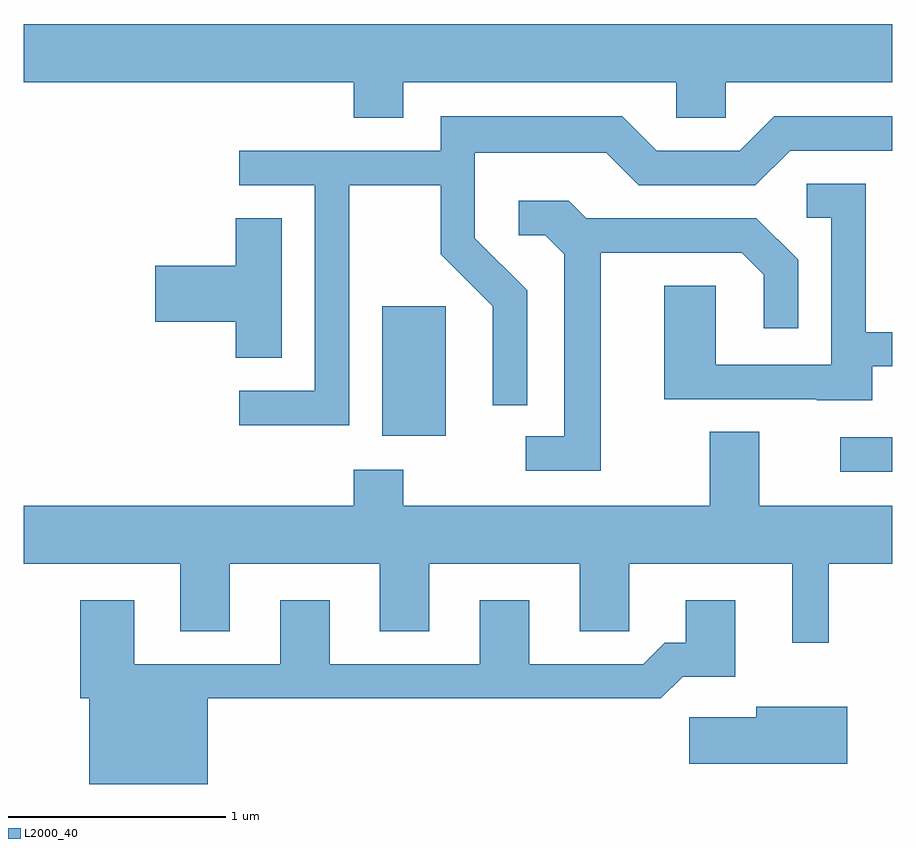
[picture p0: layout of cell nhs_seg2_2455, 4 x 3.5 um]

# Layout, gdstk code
import gdstk
lib = gdstk.Library(unit=1e-6, precision=1e-09)
def R(c, l, rs):  # rectangles x0, y0, x1, y1
    for r in rs: c.add(gdstk.rectangle(r[:2], r[2:], *l))
def P(c, l, *ps):  # polygons
    for p in ps: c.add(gdstk.Polygon(p, *l))
L2000_40 = (2000, 40)

nhs_seg2_2455 = lib.new_cell('nhs_seg2_2455')
R(nhs_seg2_2455, L2000_40, [(261.373,993.241,261.611,993.399), (259.261,993.406,259.554,994.004)])
P(nhs_seg2_2455, L2000_40, [(259.359,995.036),(260.616,995.036),(260.616,994.871),(260.844,994.871),(260.844,995.036),(261.611,995.036),(261.611,995.304),(257.611,995.304),(257.611,995.036),(259.131,995.036),(259.131,994.871),(259.359,994.871)],
  [(259.109,994.561),(259.531,994.561),(259.531,994.244),(259.771,994.004),(259.771,993.548),(259.929,993.548),(259.929,994.077),(259.689,994.317),(259.689,994.711),(260.294,994.711),(260.444,994.561),(260.981,994.561),(261.142,994.721),(261.611,994.721),(261.611,994.879),(261.069,994.879),(260.909,994.719),(260.527,994.719),(260.367,994.879),(259.531,994.879),(259.531,994.719),(258.603,994.719),(258.603,994.561),(258.951,994.561),(258.951,993.614),(258.603,993.614),(258.603,993.456),(259.109,993.456)],
  [(261.519,993.726),(261.611,993.726),(261.611,993.884),(261.489,993.884),(261.489,994.569),(261.218,994.569),(261.218,994.411),(261.331,994.411),(261.331,993.734),(260.799,993.734),(260.799,994.099),(260.561,994.099),(260.561,993.576),(261.265,993.576),(261.265,993.571),(261.519,993.571)],
  [(260.269,994.251),(260.919,994.251),(261.021,994.149),(261.021,993.903),(261.179,993.903),(261.179,994.217),(260.986,994.409),(260.202,994.409),(260.122,994.489),(259.892,994.489),(259.892,994.331),(260.014,994.331),(260.101,994.244),(260.101,993.404),(259.923,993.404),(259.923,993.246),(260.269,993.246)],
  [(258.799,994.409),(258.586,994.409),(258.586,994.189),(258.216,994.189),(258.216,993.931),(258.586,993.931),(258.586,993.766),(258.799,993.766)],
  [(261.319,992.816),(261.611,992.816),(261.611,993.084),(260.999,993.084),(260.999,993.424),(260.771,993.424),(260.771,993.084),(259.359,993.084),(259.359,993.249),(259.131,993.249),(259.131,993.084),(257.611,993.084),(257.611,992.816),(258.331,992.816),(258.331,992.506),(258.559,992.506),(258.559,992.816),(259.251,992.816),(259.251,992.506),(259.479,992.506),(259.479,992.816),(260.171,992.816),(260.171,992.506),(260.399,992.506),(260.399,992.816),(261.151,992.816),(261.151,992.453),(261.319,992.453)],
  [(258.459,992.196),(260.546,992.196),(260.647,992.296),(260.889,992.296),(260.889,992.649),(260.661,992.649),(260.661,992.454),(260.564,992.454),(260.464,992.354),(259.939,992.354),(259.939,992.649),(259.711,992.649),(259.711,992.354),(259.019,992.354),(259.019,992.649),(258.791,992.649),(258.791,992.354),(258.119,992.354),(258.119,992.649),(257.871,992.649),(257.871,992.196),(257.911,992.196),(257.911,991.802),(258.459,991.802)],
  [(261.404,992.159),(260.986,992.159),(260.986,992.109),(260.676,992.109),(260.676,991.896),(261.404,991.896)])

lib.write_gds('nhs_seg2_2455.gds')
